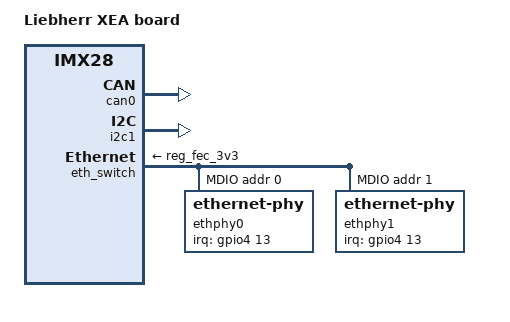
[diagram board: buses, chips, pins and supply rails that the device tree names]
// SPDX-License-Identifier: GPL-2.0-or-later OR MIT
/*
 * Copyright 2021
 * Lukasz Majewski, DENX Software Engineering, lukma@denx.de
 */

/dts-v1/;
#include<dt-bindings/interrupt-controller/irq.h>
#include "imx28-lwe.dtsi"

/ {
	model = "Liebherr XEA board";
	compatible = "lwn,imx28-xea", "fsl,imx28";
};

&can0 {
	pinctrl-names = "default";
	pinctrl-0 = <&can1_pins_a>;
	status = "okay";
};

&i2c1 {
	pinctrl-names = "default";
	pinctrl-0 = <&i2c1_pins_b>;
	status = "okay";
};

&pinctrl {
	pinctrl-names = "default";
	pinctrl-0 = <&hog_pins_a &hog_pins_tiva>;

	hog_pins_a: hog@0 {
		reg = <0>;
		fsl,pinmux-ids = <
			MX28_PAD_GPMI_D00__GPIO_0_0
			MX28_PAD_GPMI_D02__GPIO_0_2
			MX28_PAD_GPMI_D05__GPIO_0_5
			MX28_PAD_GPMI_CE1N__GPIO_0_17
			MX28_PAD_GPMI_RDY0__GPIO_0_20
			MX28_PAD_GPMI_RDY1__GPIO_0_21
			MX28_PAD_GPMI_RDY2__GPIO_0_22
			MX28_PAD_GPMI_RDN__GPIO_0_24
			MX28_PAD_GPMI_CLE__GPIO_0_27
			MX28_PAD_LCD_VSYNC__GPIO_1_28
			MX28_PAD_SSP1_SCK__GPIO_2_12
			MX28_PAD_SSP1_CMD__GPIO_2_13
			MX28_PAD_SSP2_SS1__GPIO_2_20
			MX28_PAD_SSP2_SS2__GPIO_2_21
			MX28_PAD_LCD_D00__GPIO_1_0
			MX28_PAD_LCD_D01__GPIO_1_1
			MX28_PAD_LCD_D02__GPIO_1_2
			MX28_PAD_LCD_D03__GPIO_1_3
			MX28_PAD_LCD_D04__GPIO_1_4
			MX28_PAD_LCD_D05__GPIO_1_5
			MX28_PAD_LCD_D06__GPIO_1_6
		>;
		fsl,drive-strength = <MXS_DRIVE_4mA>;
		fsl,voltage = <MXS_VOLTAGE_HIGH>;
		fsl,pull-up = <MXS_PULL_DISABLE>;
	};

	hog_pins_tiva: hog@1 {
		reg = <1>;
		fsl,pinmux-ids = <
			MX28_PAD_GPMI_RDY3__GPIO_0_23
			MX28_PAD_GPMI_WRN__GPIO_0_25
		>;
		fsl,voltage = <MXS_VOLTAGE_HIGH>;
		fsl,pull-up = <MXS_PULL_DISABLE>;
	};

	hog_pins_coding: hog@2 {
		reg = <2>;
		fsl,pinmux-ids = <
			MX28_PAD_GPMI_D01__GPIO_0_1
			MX28_PAD_GPMI_D03__GPIO_0_3
			MX28_PAD_GPMI_D04__GPIO_0_4
			MX28_PAD_GPMI_D06__GPIO_0_6
			MX28_PAD_GPMI_D07__GPIO_0_7
		>;
		fsl,voltage = <MXS_VOLTAGE_HIGH>;
		fsl,pull-up = <MXS_PULL_DISABLE>;
	};
};

&reg_fec_3v3 {
	gpio = <&gpio0 0 0>;
};

&reg_usb_5v {
	gpio = <&gpio0 2 0>;
};

&eth_switch {
	pinctrl-names = "default";
	pinctrl-0 = <&mac0_pins_a>, <&mac1_pins_a>;
	phy-supply = <&reg_fec_3v3>;
	status = "okay";

	ethernet-ports {
		#address-cells = <1>;
		#size-cells = <0>;

		mtip_port1: ethernet-port@1 {
			reg = <1>;
			label = "lan0";
			local-mac-address = [ 00 00 00 00 00 00 ];
			phy-mode = "rmii";
			phy-handle = <&ethphy0>;
		};

		mtip_port2: ethernet-port@2 {
			reg = <2>;
			label = "lan1";
			local-mac-address = [ 00 00 00 00 00 00 ];
			phy-mode = "rmii";
			phy-handle = <&ethphy1>;
		};
	};

	mdio_sw: mdio {
		#address-cells = <1>;
		#size-cells = <0>;

		reset-gpios = <&gpio3 21 GPIO_ACTIVE_LOW>;
		reset-delay-us = <25000>;
		reset-post-delay-us = <10000>;

		ethphy0: ethernet-phy@0 {
			reg = <0>;
			smsc,disable-energy-detect;
			/*
			 * Both PHYs (i.e. 0,1) have the same, single GPIO,
			 * line to handle both, their interrupts (OR'ed)
			 */
			interrupt-parent = <&gpio4>;
			interrupts = <13 IRQ_TYPE_LEVEL_LOW>;
		};

		ethphy1: ethernet-phy@1 {
			reg = <1>;
			smsc,disable-energy-detect;
			interrupt-parent = <&gpio4>;
			interrupts = <13 IRQ_TYPE_LEVEL_LOW>;
		};
	};
};

&spi2_pins_a {
	fsl,pinmux-ids = <
		MX28_PAD_SSP2_SCK__SSP2_SCK
		MX28_PAD_SSP2_MOSI__SSP2_CMD
		MX28_PAD_SSP2_MISO__SSP2_D0
		MX28_PAD_SSP2_SS0__GPIO_2_19
	>;
};
